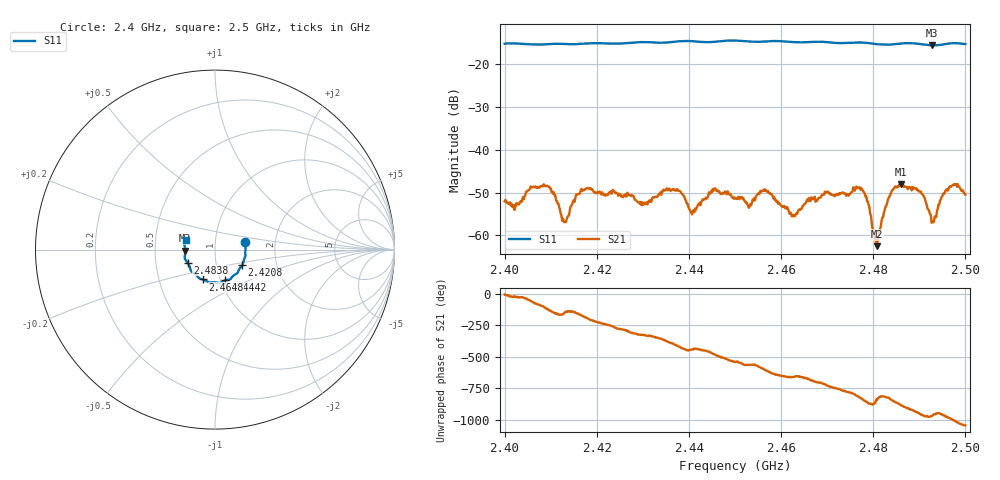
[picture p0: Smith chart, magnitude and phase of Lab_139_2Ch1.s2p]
# Hz S RI R 50
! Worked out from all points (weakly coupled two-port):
!   601 points, 2.4 GHz to 2.5 GHz, reference 50 ohm
!   highest |S21| = -47.98 dB at 2.486 GHz (marker M1); lowest = -62.5 dB at 2.4808 GHz (marker M2)
!   lowest |S11| = -15.6 dB at 2.4928 GHz (marker M3), VSWR 1.40, Z = 35.8 - j0.381 ohm
!   |S11| at or under -10 dB: start of sweep to end of sweep
!   S12 and S22 are empty: the file has one direction only
!   S11 on the Smith chart (normalised r, x): 2.4 GHz: 1.40, +0.12; 2.4208 GHz: 1.33, -0.24; 2.4442 GHz: 1.05, -0.37; 2.4648 GHz: 0.83, -0.28; 2.4838 GHz: 0.73, -0.11; 2.5 GHz: 0.72, +0.08
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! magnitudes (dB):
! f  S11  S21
! 2.4 GHz  -15.2  -52.1
! 2.409 GHz  -15.4  -48.5
! 2.413 GHz  -15.3  -56.9
! 2.4167 GHz  -15.3  -49.2
! 2.4208 GHz  -15.1  -50.3
! 2.4333 GHz  -15.0  -50.7
! 2.4378 GHz  -14.7  -49.6
! 2.4407 GHz  -14.6  -55.1
! 2.4442 GHz  -14.9  -50.9
! 2.45 GHz  -14.5  -51.4
! 2.4567 GHz  -14.7  -49.4
! 2.4648 GHz  -14.9  -53.1
! 2.4667 GHz  -14.8  -51.1
! 2.4772 GHz  -14.9  -48.8
! 2.4808 GHz  -15.4  -62.5
! 2.4833 GHz  -15.5  -51.2
! 2.4838 GHz  -15.4  -50.2
! 2.486 GHz  -15.2  -48.0
! 2.4905 GHz  -15.4  -50.3
! 2.4928 GHz  -15.6  -56.7
! 2.497 GHz  -15.1  -48.5
! 2.5 GHz  -15.3  -50.5
